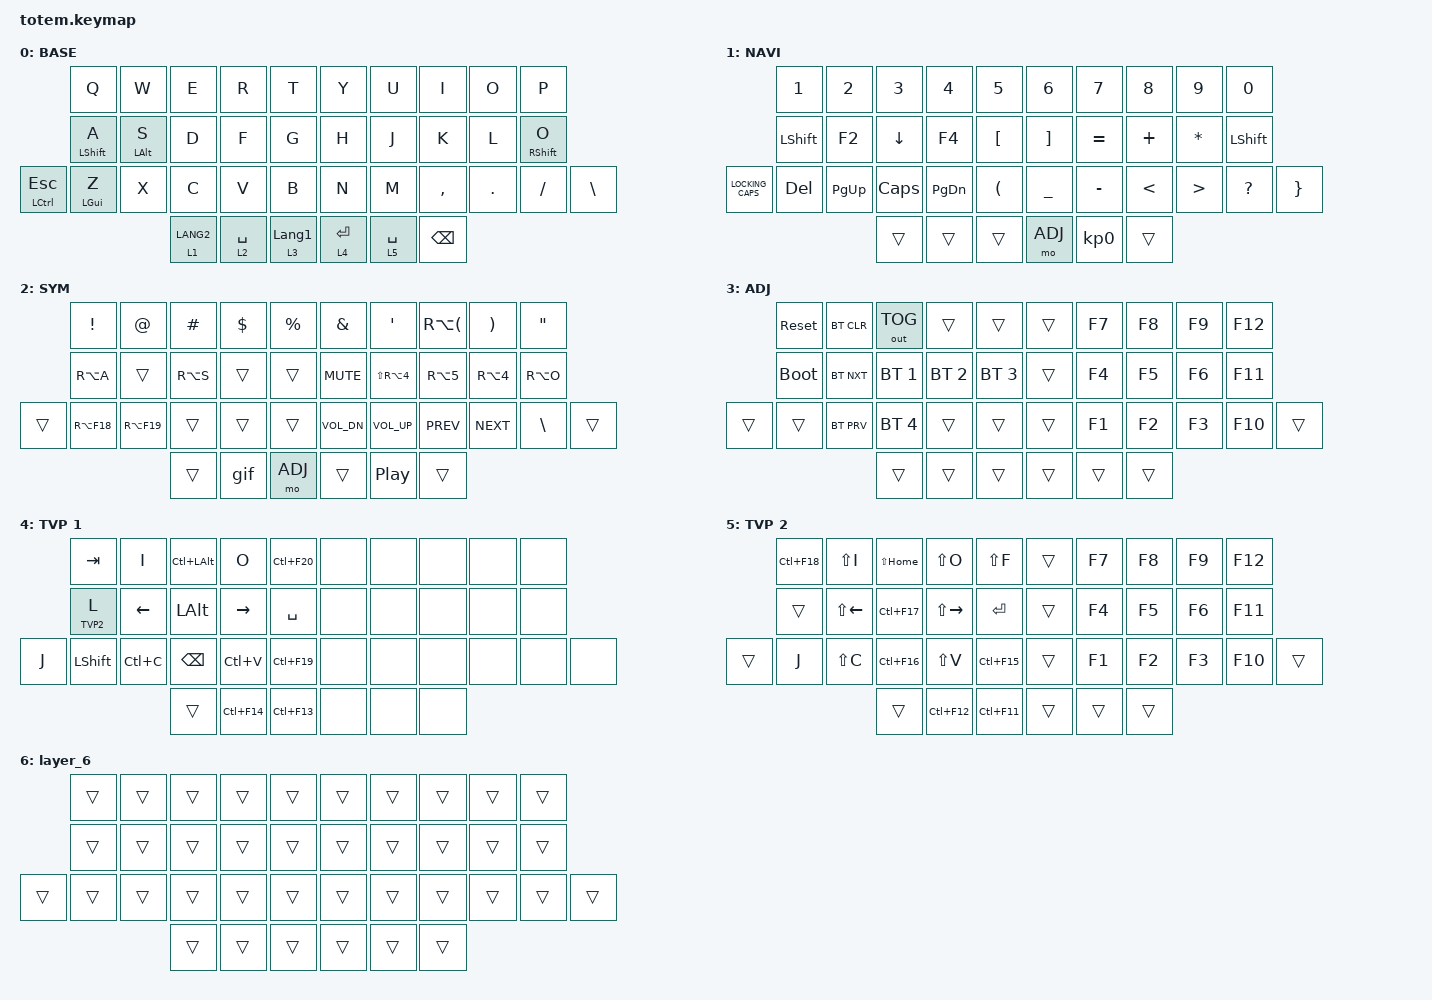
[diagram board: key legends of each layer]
//
//                                                        ▀▀▀▀▀     ▀▀▀▀▀          ▀▀█▀▀
//                                                        ▄▀▀▀▄  ▄  ▄▀▀▀▄  ▄  ▄▀▀▀▄  █  ▄▀▀▀▄
//                                                        █   █  █  █   █  █  █   █  █  █   █
//                                                         ▀▀▀   █   ▀▀▀   █   ▀▀▀   ▀   ▀▀▀
//                                                               █      ▄▄▄█▄▄▄    █   █  
//                                                               ▀      █  █  █     █▄█
//                                                             ▀▀▀▀▀    █  █  █      ▀
//                                                                      ▀  ▀  ▀
//
// ▄▄▄▄▄▄▄▄▄▄▄▄▄▄▄▄▄▄▄▄▄▄▄▄▄▄▄▄▄▄▄▄▄▄▄▄▄▄▄▄▄▄▄▄▄▄▄▄▄▄▄▄▄▄▄▄▄▄▄▄▄▄▄▄▄▄▄▄▄▄▄▄▄▄▄▄▄▄▄▄▄▄▄▄▄▄▄▄▄▄▄▄▄▄▄▄▄▄▄▄▄▄▄▄▄▄▄▄▄▄▄▄▄▄▄▄▄▄▄▄▄▄▄▄▄▄▄▄▄▄▄▄▄▄▄▄▄▄▄▄▄▄▄▄▄▄▄▄▄

#include <behaviors.dtsi>
#include <dt-bindings/zmk/bt.h>
#include <dt-bindings/zmk/keys.h>
#include <dt-bindings/zmk/outputs.h>

#define BASE 0
#define NAV  1
#define SYM  2
#define ADJ  3
#define TVP1 4
#define TVP2 5

&mt {
    quick-tap-ms = <100>;
    global-quick-tap;
    flavor = "tap-preferred";
    tapping-term-ms = <170>;
};

/ {
    combos {
        compatible = "zmk,combos";

        combo_esc {
            timeout-ms = <50>;
            key-positions = <0 1>;
            bindings = <&kp ESC>;
        };

        combo_tvp {
            timeout-ms = <100>;
            key-positions = <11 12 13>;
            bindings = <&tog TVP1>;
        };

        tab {
            bindings = <&kp TAB>;
            key-positions = <1 2>;
        };

        backspace {
            bindings = <&kp BACKSPACE>;
            key-positions = <20 15>;
        };

        del {
            bindings = <&kp DELETE>;
            key-positions = <20 14>;
        };

        enter {
            bindings = <&kp ENTER>;
            key-positions = <20 27>;
        };

        up {
            bindings = <&kp UP_ARROW>;
            key-positions = <20 8>;
        };

        down {
            bindings = <&kp DOWN>;
            key-positions = <20 9>;
        };

        left {
            bindings = <&kp LEFT>;
            key-positions = <20 11>;
        };

        right {
            bindings = <&kp RIGHT>;
            key-positions = <20 12>;
        };
    };

    macros {
        gif: gif {
            label = "giphy";
            compatible = "zmk,behavior-macro";
            #binding-cells = <0>;
            bindings =
                <&macro_press>,
                <&kp LSHFT>,
                <&macro_tap>,
                <&kp N2>,
                <&macro_release>,
                <&kp LSHFT>,
                <&macro_tap>,
                <&kp G &kp I &kp F>;
        };
    };

    keymap {
        compatible = "zmk,keymap";

        // ▄▄▄▄▄▄▄▄▄▄▄▄▄▄▄▄▄▄▄▄▄▄▄▄▄▄▄▄▄▄▄▄▄▄▄▄▄▄▄▄▄▄▄▄▄▄▄▄▄▄▄▄▄▄▄▄▄▄▄▄▄▄▄▄▄▄▄▄▄▄▄▄▄▄▄▄▄▄▄▄▄▄▄▄▄▄▄▄▄▄▄▄▄▄▄▄▄▄▄▄▄▄▄▄▄▄▄▄▄▄▄▄▄▄▄▄▄▄▄▄▄▄▄▄▄▄▄▄▄▄▄▄▄▄▄▄▄▄▄▄▄▄▄▄▄▄▄▄▄

        base_layer {
            // ┏━━━━━━━━━━━━━━━━━━━━━━━━━━━━━━━━━━━━━━━┓

            label = "BASE";

            // ┗━━━━━━━━━━━━━━━━━━━━━━━━━━━━━━━━━━━━━━━┛
            //             ┏━━━━━━━━━━━┳━━━━━━━━━━━┳━━━━━━━━━━━┳━━━━━━━━━━━┳━━━━━━━━━━━┓   ┏━━━━━━━━━━━┳━━━━━━━━━━━┳━━━━━━━━━━━┳━━━━━━━━━━━┳━━━━━━━━━━━┓
            //             ┃     Q     ┃     W     ┃     F     ┃     P     ┃     G     ┃   ┃     J     ┃     L     ┃     U     ┃     Y     ┃     ;     ┃
            //             ┣━━━━━━━━━━━╋━━━━━━━━━━━╋━━━━━━━━━━━╋━━━━━━━━━━━╋━━━━━━━━━━━┫   ┣━━━━━━━━━━━╋━━━━━━━━━━━╋━━━━━━━━━━━╋━━━━━━━━━━━╋━━━━━━━━━━━┫
            //             ┃     A     ┃     R     ┃     S     ┃     T     ┃     D     ┃   ┃     H     ┃     N     ┃     E     ┃     I     ┃     O     ┃
            // ┏━━━━━━━━━━━╋━━━━━━━━━━━╋━━━━━━━━━━━╋━━━━━━━━━━━╋━━━━━━━━━━━╋━━━━━━━━━━━┫   ┣━━━━━━━━━━━╋━━━━━━━━━━━╋━━━━━━━━━━━╋━━━━━━━━━━━╋━━━━━━━━━━━╋━━━━━━━━━━━┓
            // ┃     Q     ┃     Z     ┃     X     ┃     C     ┃     V     ┃     B     ┃   ┃     K     ┃     M     ┃     ,     ┃     .     ┃     /     ┃     \     ┃
            // ┗━━━━━━━━━━━┻━━━━━━━━━━━┻━━━━━━━━━━━╋━━━━━━━━━━━╋━━━━━━━━━━━╋━━━━━━━━━━━┫   ┣━━━━━━━━━━━╋━━━━━━━━━━━╋━━━━━━━━━━━╋━━━━━━━━━━━┻━━━━━━━━━━━┻━━━━━━━━━━━┛
            //                                     ┃    DEL    ┃    TAB    ┃    SPC    ┃   ┃   ENTER   ┃           ┃   BSPC    ┃
            //                                     ┗━━━━━━━━━━━┻━━━━━━━━━━━┻━━━━━━━━━━━┛   ┗━━━━━━━━━━━┻━━━━━━━━━━━┻━━━━━━━━━━━┛

            bindings = <
                  &kp Q        &kp W       &kp E        &kp R        &kp T               &kp Y        &kp U        &kp I      &kp O    &kp P
                  &mt LSHFT A  &mt LALT S  &kp D        &kp F        &kp G               &kp H        &kp J        &kp K      &kp L    &mt RSHFT O
&mt LCTRL ESCAPE  &mt LGUI Z   &kp X       &kp C        &kp V        &kp B               &kp N        &kp M        &kp COMMA  &kp DOT  &kp FSLH     &kp BSLH
                                           &lt 1 LANG2  &lt 2 SPACE  &lt 3 LANGUAGE_1    &lt 4 ENTER  &lt 5 SPACE  &kp BSPC
            >;
        };

        // ▄▄▄▄▄▄▄▄▄▄▄▄▄▄▄▄▄▄▄▄▄▄▄▄▄▄▄▄▄▄▄▄▄▄▄▄▄▄▄▄▄▄▄▄▄▄▄▄▄▄▄▄▄▄▄▄▄▄▄▄▄▄▄▄▄▄▄▄▄▄▄▄▄▄▄▄▄▄▄▄▄▄▄▄▄▄▄▄▄▄▄▄▄▄▄▄▄▄▄▄▄▄▄▄▄▄▄▄▄▄▄▄▄▄▄▄▄▄▄▄▄▄▄▄▄▄▄▄▄▄▄▄▄▄▄▄▄▄▄▄▄▄▄▄▄▄▄▄▄

        nav_layer {
            // ┏━━━━━━━━━━━━━━━━━━━━━━━━━━━━━━━━━━━━━━━┓

            label = "NAVI";

            // ┗━━━━━━━━━━━━━━━━━━━━━━━━━━━━━━━━━━━━━━━┛
            //             ┏━━━━━━━━━━━┳━━━━━━━━━━━┳━━━━━━━━━━━┳━━━━━━━━━━━┳━━━━━━━━━━━┓   ┏━━━━━━━━━━━┳━━━━━━━━━━━┳━━━━━━━━━━━┳━━━━━━━━━━━┳━━━━━━━━━━━┓
            //             ┃           ┃           ┃     UP    ┃           ┃     {     ┃   ┃     }     ┃     7     ┃     8     ┃     9     ┃     +     ┃
            //             ┣━━━━━━━━━━━╋━━━━━━━━━━━╋━━━━━━━━━━━╋━━━━━━━━━━━╋━━━━━━━━━━━┫   ┣━━━━━━━━━━━╋━━━━━━━━━━━╋━━━━━━━━━━━╋━━━━━━━━━━━╋━━━━━━━━━━━┫
            //             ┃   SHIFT   ┃   LEFT    ┃    DOWN   ┃   RIGHT   ┃     [     ┃   ┃     ]     ┃     4     ┃     5     ┃     6     ┃     -     ┃
            // ┏━━━━━━━━━━━╋━━━━━━━━━━━╋━━━━━━━━━━━╋━━━━━━━━━━━╋━━━━━━━━━━━╋━━━━━━━━━━━┫   ┣━━━━━━━━━━━╋━━━━━━━━━━━╋━━━━━━━━━━━╋━━━━━━━━━━━╋━━━━━━━━━━━╋━━━━━━━━━━━┓
            // ┃           ┃           ┃   P UP    ┃  C LOCK   ┃  P DOWN   ┃     (     ┃   ┃     )     ┃     1     ┃     2     ┃     3     ┃     *     ┃           ┃
            // ┗━━━━━━━━━━━┻━━━━━━━━━━━┻━━━━━━━━━━━╋━━━━━━━━━━━╋━━━━━━━━━━━╋━━━━━━━━━━━┫   ┣━━━━━━━━━━━╋━━━━━━━━━━━╋━━━━━━━━━━━╋━━━━━━━━━━━┻━━━━━━━━━━━┻━━━━━━━━━━━┛
            //                                     ┃           ┃    TAB    ┃    SPC    ┃   ┃    DEL    ┃     0     ┃           ┃
            //                                     ┗━━━━━━━━━━━┻━━━━━━━━━━━┻━━━━━━━━━━━┛   ┗━━━━━━━━━━━┻━━━━━━━━━━━┻━━━━━━━━━━━┛

            bindings = <
                  &kp NUMBER_1  &kp NUMBER_2  &kp NUMBER_3  &kp NUMBER_4  &kp N5      &kp NUMBER_6  &kp N7     &kp N8         &kp NUMBER_9      &kp NUMBER_0
                  &kp LSHFT     &kp F2        &kp DOWN      &kp F4        &kp LBKT    &kp RBKT      &kp EQUAL  &kp PLUS       &kp ASTERISK      &kp LSHFT
&kp LOCKING_CAPS  &kp DEL       &kp PG_UP     &kp CAPS      &kp PG_DN     &kp LPAR    &kp UNDER     &kp MINUS  &kp LESS_THAN  &kp GREATER_THAN  &kp QUESTION  &kp RIGHT_BRACE
                                              &trans        &trans        &trans      &mo ADJ       &kp KP_N0  &trans
            >;
        };

        // ▄▄▄▄▄▄▄▄▄▄▄▄▄▄▄▄▄▄▄▄▄▄▄▄▄▄▄▄▄▄▄▄▄▄▄▄▄▄▄▄▄▄▄▄▄▄▄▄▄▄▄▄▄▄▄▄▄▄▄▄▄▄▄▄▄▄▄▄▄▄▄▄▄▄▄▄▄▄▄▄▄▄▄▄▄▄▄▄▄▄▄▄▄▄▄▄▄▄▄▄▄▄▄▄▄▄▄▄▄▄▄▄▄▄▄▄▄▄▄▄▄▄▄▄▄▄▄▄▄▄▄▄▄▄▄▄▄▄▄▄▄▄▄▄▄▄▄▄▄

        sim_layer {
            // ┏━━━━━━━━━━━━━━━━━━━━━━━━━━━━━━━━━━━━━━━┓

            label = "SYM";

            // ┗━━━━━━━━━━━━━━━━━━━━━━━━━━━━━━━━━━━━━━━┛
            //             ┏━━━━━━━━━━━┳━━━━━━━━━━━┳━━━━━━━━━━━┳━━━━━━━━━━━┳━━━━━━━━━━━┓   ┏━━━━━━━━━━━┳━━━━━━━━━━━┳━━━━━━━━━━━┳━━━━━━━━━━━┳━━━━━━━━━━━┓
            //             ┃     !     ┃     @     ┃     #     ┃     $     ┃     %     ┃   ┃     ˆ     ┃     &     ┃     Ü     ┃     '     ┃     "     ┃
            //             ┣━━━━━━━━━━━╋━━━━━━━━━━━╋━━━━━━━━━━━╋━━━━━━━━━━━╋━━━━━━━━━━━┫   ┣━━━━━━━━━━━╋━━━━━━━━━━━╋━━━━━━━━━━━╋━━━━━━━━━━━╋━━━━━━━━━━━┫
            //             ┃     Ä     ┃           ┃    SZ     ┃           ┃           ┃   ┃   MUTE    ┃   YEN     ┃   EURO    ┃  POUND    ┃     Ö     ┃
            // ┏━━━━━━━━━━━╋━━━━━━━━━━━╋━━━━━━━━━━━╋━━━━━━━━━━━╋━━━━━━━━━━━╋━━━━━━━━━━━┫   ┣━━━━━━━━━━━╋━━━━━━━━━━━╋━━━━━━━━━━━╋━━━━━━━━━━━╋━━━━━━━━━━━╋━━━━━━━━━━━┓
            // ┃           ┃  EMAIL1   ┃  EMAIL2   ┃           ┃           ┃           ┃   ┃   VOL-    ┃   VOL+    ┃   LAST    ┃   NEXT    ┃     \     ┃           ┃
            // ┗━━━━━━━━━━━┻━━━━━━━━━━━┻━━━━━━━━━━━╋━━━━━━━━━━━╋━━━━━━━━━━━╋━━━━━━━━━━━┫   ┣━━━━━━━━━━━╋━━━━━━━━━━━╋━━━━━━━━━━━╋━━━━━━━━━━━┻━━━━━━━━━━━┻━━━━━━━━━━━┛
            //                                     ┃           ┃    GIF    ┃    ADJ    ┃   ┃           ┃           ┃           ┃
            //                                     ┗━━━━━━━━━━━┻━━━━━━━━━━━┻━━━━━━━━━━━┛   ┗━━━━━━━━━━━┻━━━━━━━━━━━┻━━━━━━━━━━━┛

            bindings = <
        &kp EXCL     &kp AT       &kp HASH   &kp DLLR  &kp PRCNT    &kp AMPERSAND  &kp SINGLE_QUOTE  &kp RA(LPAR)  &kp RPAR    &kp DQT
        &kp RA(A)    &trans       &kp RA(S)  &trans    &trans       &kp C_MUTE     &kp LS(RA(N4))    &kp RA(N5)    &kp RA(N4)  &kp RA(O)
&trans  &kp RA(F18)  &kp RA(F19)  &trans     &trans    &trans       &kp C_VOL_DN   &kp C_VOL_UP      &kp C_PREV    &kp C_NEXT  &kp BSLH   &trans
                                  &trans     &gif      &mo ADJ      &trans         &kp C_PP          &trans
            >;
        };

        // ▄▄▄▄▄▄▄▄▄▄▄▄▄▄▄▄▄▄▄▄▄▄▄▄▄▄▄▄▄▄▄▄▄▄▄▄▄▄▄▄▄▄▄▄▄▄▄▄▄▄▄▄▄▄▄▄▄▄▄▄▄▄▄▄▄▄▄▄▄▄▄▄▄▄▄▄▄▄▄▄▄▄▄▄▄▄▄▄▄▄▄▄▄▄▄▄▄▄▄▄▄▄▄▄▄▄▄▄▄▄▄▄▄▄▄▄▄▄▄▄▄▄▄▄▄▄▄▄▄▄▄▄▄▄▄▄▄▄▄▄▄▄▄▄▄▄▄▄▄

        adjust_layer {
            // ┏━━━━━━━━━━━━━━━━━━━━━━━━━━━━━━━━━━━━━━━┓

            label = "ADJ";

            // ┗━━━━━━━━━━━━━━━━━━━━━━━━━━━━━━━━━━━━━━━┛
            //             ┏━━━━━━━━━━━┳━━━━━━━━━━━┳━━━━━━━━━━━┳━━━━━━━━━━━┳━━━━━━━━━━━┓   ┏━━━━━━━━━━━┳━━━━━━━━━━━┳━━━━━━━━━━━┳━━━━━━━━━━━┳━━━━━━━━━━━┓
            //             ┃   RESET   ┃ BT CLEAR  ┃  OUT TOG  ┃           ┃           ┃   ┃           ┃    F7     ┃    F8     ┃    F9     ┃    F12    ┃
            //             ┣━━━━━━━━━━━╋━━━━━━━━━━━╋━━━━━━━━━━━╋━━━━━━━━━━━╋━━━━━━━━━━━┫   ┣━━━━━━━━━━━╋━━━━━━━━━━━╋━━━━━━━━━━━╋━━━━━━━━━━━╋━━━━━━━━━━━┫
            //             ┃ BOOTLOAD  ┃ BT NEXT   ┃           ┃           ┃           ┃   ┃           ┃    F4     ┃    F5     ┃    F6     ┃    F11    ┃
            // ┏━━━━━━━━━━━╋━━━━━━━━━━━╋━━━━━━━━━━━╋━━━━━━━━━━━╋━━━━━━━━━━━╋━━━━━━━━━━━┫   ┣━━━━━━━━━━━╋━━━━━━━━━━━╋━━━━━━━━━━━╋━━━━━━━━━━━╋━━━━━━━━━━━╋━━━━━━━━━━━┓
            // ┃           ┃           ┃ BT PREV   ┃           ┃           ┃           ┃   ┃           ┃    F1     ┃    F2     ┃    F3     ┃    F10    ┃           ┃
            // ┗━━━━━━━━━━━┻━━━━━━━━━━━┻━━━━━━━━━━━╋━━━━━━━━━━━╋━━━━━━━━━━━╋━━━━━━━━━━━┫   ┣━━━━━━━━━━━╋━━━━━━━━━━━╋━━━━━━━━━━━╋━━━━━━━━━━━┻━━━━━━━━━━━┻━━━━━━━━━━━┛
            //                                     ┃           ┃           ┃           ┃   ┃           ┃           ┃           ┃
            //                                     ┗━━━━━━━━━━━┻━━━━━━━━━━━┻━━━━━━━━━━━┛   ┗━━━━━━━━━━━┻━━━━━━━━━━━┻━━━━━━━━━━━┛

            bindings = <
        &sys_reset   &bt BT_CLR  &out OUT_TOG  &trans        &trans          &trans  &kp F7  &kp F8  &kp F9  &kp F12
        &bootloader  &bt BT_NXT  &bt BT_SEL 1  &bt BT_SEL 2  &bt BT_SEL 3    &trans  &kp F4  &kp F5  &kp F6  &kp F11
&trans  &trans       &bt BT_PRV  &bt BT_SEL 4  &trans        &trans          &trans  &kp F1  &kp F2  &kp F3  &kp F10  &trans
                                 &trans        &trans        &trans          &trans  &trans  &trans
            >;
        };

        // ▄▄▄▄▄▄▄▄▄▄▄▄▄▄▄▄▄▄▄▄▄▄▄▄▄▄▄▄▄▄▄▄▄▄▄▄▄▄▄▄▄▄▄▄▄▄▄▄▄▄▄▄▄▄▄▄▄▄▄▄▄▄▄▄▄▄▄▄▄▄▄▄▄▄▄▄▄▄▄▄▄▄▄▄▄▄▄▄▄▄▄▄▄▄▄▄▄▄▄▄▄▄▄▄▄▄▄▄▄▄▄▄▄▄▄▄▄▄▄▄▄▄▄▄▄▄▄▄▄▄▄▄▄▄▄▄▄▄▄▄▄▄▄▄▄▄▄▄▄

        tvp1_layer {
            // ┏━━━━━━━━━━━━━━━━━━━━━━━━━━━━━━━━━━━━━━━┓

            label = "TVP 1";

            // ┗━━━━━━━━━━━━━━━━━━━━━━━━━━━━━━━━━━━━━━━┛
            //             ┏━━━━━━━━━━━┳━━━━━━━━━━━┳━━━━━━━━━━━┳━━━━━━━━━━━┳━━━━━━━━━━━┓   ┏━━━━━━━━━━━┳━━━━━━━━━━━┳━━━━━━━━━━━┳━━━━━━━━━━━┳━━━━━━━━━━━┓
            //             ┃ NEXT FILE ┃ MARK IN   ┃ ROTATE    ┃ MARK OUT  ┃ SHOW SNAP ┃   ┃           ┃           ┃           ┃           ┃           ┃
            //             ┣━━━━━━━━━━━╋━━━━━━━━━━━╋━━━━━━━━━━━╋━━━━━━━━━━━╋━━━━━━━━━━━┫   ┣━━━━━━━━━━━╋━━━━━━━━━━━╋━━━━━━━━━━━╋━━━━━━━━━━━╋━━━━━━━━━━━┫
            //             ┃ TVP II    ┃ LEFT      ┃ PAN       ┃ RIGHT     ┃ PLAY/FLIP ┃   ┃           ┃           ┃           ┃           ┃           ┃
            // ┏━━━━━━━━━━━╋━━━━━━━━━━━╋━━━━━━━━━━━╋━━━━━━━━━━━╋━━━━━━━━━━━╋━━━━━━━━━━━┫   ┣━━━━━━━━━━━╋━━━━━━━━━━━╋━━━━━━━━━━━╋━━━━━━━━━━━╋━━━━━━━━━━━╋━━━━━━━━━━━┓
            // ┃ FULLSCR   ┃ SHIFT     ┃ COPY      ┃ DELETE    ┃ PASTE     ┃ IMG MARK  ┃   ┃           ┃           ┃           ┃           ┃           ┃           ┃
            // ┗━━━━━━━━━━━┻━━━━━━━━━━━┻━━━━━━━━━━━╋━━━━━━━━━━━╋━━━━━━━━━━━╋━━━━━━━━━━━┫   ┣━━━━━━━━━━━╋━━━━━━━━━━━╋━━━━━━━━━━━╋━━━━━━━━━━━┻━━━━━━━━━━━┻━━━━━━━━━━━┛
            //                                     ┃           ┃ UNDO/SAVE ┃  SEL/MOV  ┃   ┃           ┃           ┃           ┃
            //                                     ┗━━━━━━━━━━━┻━━━━━━━━━━━┻━━━━━━━━━━━┛   ┗━━━━━━━━━━━┻━━━━━━━━━━━┻━━━━━━━━━━━┛

            bindings = <
       &kp TAB     &kp I      &kp LC(LALT)  &kp O        &kp LC(F20)    &none  &none  &none  &none  &none
       &lt TVP2 L  &kp LEFT   &kp LALT      &kp RIGHT    &kp SPACE      &none  &none  &none  &none  &none
&kp J  &kp LSHFT   &kp LC(C)  &kp BSPC      &kp LC(V)    &kp LC(F19)    &none  &none  &none  &none  &none  &none
                              &trans        &kp LC(F14)  &kp LC(F13)    &none  &none  &none
            >;
        };

        // ▄▄▄▄▄▄▄▄▄▄▄▄▄▄▄▄▄▄▄▄▄▄▄▄▄▄▄▄▄▄▄▄▄▄▄▄▄▄▄▄▄▄▄▄▄▄▄▄▄▄▄▄▄▄▄▄▄▄▄▄▄▄▄▄▄▄▄▄▄▄▄▄▄▄▄▄▄▄▄▄▄▄▄▄▄▄▄▄▄▄▄▄▄▄▄▄▄▄▄▄▄▄▄▄▄▄▄▄▄▄▄▄▄▄▄▄▄▄▄▄▄▄▄▄▄▄▄▄▄▄▄▄▄▄▄▄▄▄▄▄▄▄▄▄▄▄▄▄▄

        tvp2_layer {
            // ┏━━━━━━━━━━━━━━━━━━━━━━━━━━━━━━━━━━━━━━━┓

            label = "TVP 2";

            // ┗━━━━━━━━━━━━━━━━━━━━━━━━━━━━━━━━━━━━━━━┛
            //             ┏━━━━━━━━━━━┳━━━━━━━━━━━┳━━━━━━━━━━━┳━━━━━━━━━━━┳━━━━━━━━━━━┓   ┏━━━━━━━━━━━┳━━━━━━━━━━━┳━━━━━━━━━━━┳━━━━━━━━━━━┳━━━━━━━━━━━┓
            //             ┃ SOLO      ┃ TOGGLE IN ┃ RESET ROT ┃ TOGGLE OUT┃ TAKE SNAP ┃   ┃           ┃           ┃           ┃           ┃           ┃
            //             ┣━━━━━━━━━━━╋━━━━━━━━━━━╋━━━━━━━━━━━╋━━━━━━━━━━━╋━━━━━━━━━━━┫   ┣━━━━━━━━━━━╋━━━━━━━━━━━╋━━━━━━━━━━━╋━━━━━━━━━━━╋━━━━━━━━━━━┫
            //             ┃ ---       ┃ LAST KEY  ┃ NEW KEY   ┃ NEXT KEY  ┃ ENTER     ┃   ┃           ┃           ┃           ┃           ┃           ┃
            // ┏━━━━━━━━━━━╋━━━━━━━━━━━╋━━━━━━━━━━━╋━━━━━━━━━━━╋━━━━━━━━━━━╋━━━━━━━━━━━┫   ┣━━━━━━━━━━━╋━━━━━━━━━━━╋━━━━━━━━━━━╋━━━━━━━━━━━╋━━━━━━━━━━━╋━━━━━━━━━━━┓
            // ┃           ┃ FULLSCR   ┃ CPY2BRUSH ┃ DEL HEAD  ┃ PSTinPLACE┃ BOOK MARK ┃   ┃           ┃           ┃           ┃           ┃           ┃           ┃
            // ┗━━━━━━━━━━━┻━━━━━━━━━━━┻━━━━━━━━━━━╋━━━━━━━━━━━╋━━━━━━━━━━━╋━━━━━━━━━━━┫   ┣━━━━━━━━━━━╋━━━━━━━━━━━╋━━━━━━━━━━━╋━━━━━━━━━━━┻━━━━━━━━━━━┻━━━━━━━━━━━┛
            //                                     ┃           ┃ REDO/SAV1 ┃TRANS/WARP ┃   ┃           ┃           ┃           ┃
            //                                     ┗━━━━━━━━━━━┻━━━━━━━━━━━┻━━━━━━━━━━━┛   ┗━━━━━━━━━━━┻━━━━━━━━━━━┻━━━━━━━━━━━┛

            bindings = <
        &kp LC(F18)  &kp LS(I)     &kp LS(HOME)  &kp LS(O)      &kp LS(F)      &trans  &kp F7  &kp F8  &kp F9  &kp F12
        &trans       &kp LS(LEFT)  &kp LC(F17)   &kp LS(RIGHT)  &kp RET        &trans  &kp F4  &kp F5  &kp F6  &kp F11
&trans  &kp J        &kp LS(C)     &kp LC(F16)   &kp LS(V)      &kp LC(F15)    &trans  &kp F1  &kp F2  &kp F3  &kp F10  &trans
                                   &trans        &kp LC(F12)    &kp LC(F11)    &trans  &trans  &trans
            >;
        };

        layer_6 {
            bindings = <
        &trans  &trans  &trans  &trans  &trans    &trans  &trans  &trans  &trans  &trans
        &trans  &trans  &trans  &trans  &trans    &trans  &trans  &trans  &trans  &trans
&trans  &trans  &trans  &trans  &trans  &trans    &trans  &trans  &trans  &trans  &trans  &trans
                        &trans  &trans  &trans    &trans  &trans  &trans
            >;
        };
    };
};
